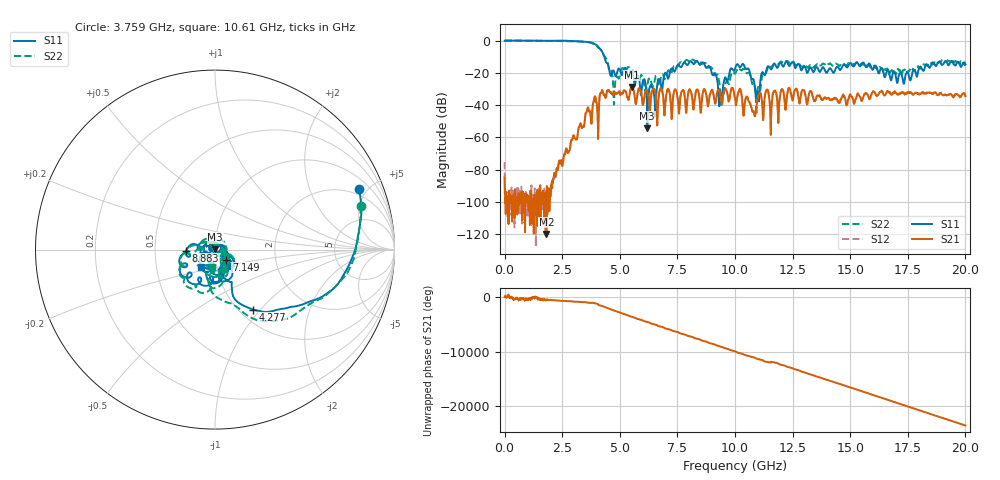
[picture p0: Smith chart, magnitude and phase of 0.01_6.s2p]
#  HZ  S  RI  R  50.00
! Rohde & Schwarz Vector Network Analyzer
! Rohde-Schwarz,ZNB20-2Port,1311601062102128,3.60
! Created: UTC 4/29/2024, 2:51:30 PM
! freq[Hz]  re:S11  im:S11  re:S21  im:S21  re:S12  im:S12  re:S22  im:S22
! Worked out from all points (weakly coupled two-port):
!   2007 points, 100 kHz to 20 GHz, reference 50 ohm
!   highest |S21| = -28.72 dB at 5.514 GHz (marker M1); lowest = -120.0 dB at 1.815 GHz (marker M2)
!   lowest |S11| = -54.4 dB at 6.191 GHz (marker M3), VSWR 1.00, Z = 50.1 + j0.172 ohm
!   |S11| at or under -10 dB: 4.328 GHz to end of sweep
!   |S22| runs from -46.1 to 0.1 dB; largest |S21 - S12| = 0.0022
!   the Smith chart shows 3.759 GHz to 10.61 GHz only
!   S11 on the Smith chart (normalised r, x): 3.759 GHz: 1.55, +4.40; 4.277 GHz: 1.16, -0.92; 7.149 GHz: 1.13, -0.13; 8.883 GHz: 0.72, -0.01; 10.61 GHz: 0.84, -0.17
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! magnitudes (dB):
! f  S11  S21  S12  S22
! 100 kHz  0.0  -84.8  -75.4  0.1
! 1.815 GHz  -0.1  -120.0  -99.9  -0.2
! 2.473 GHz  0.0  -74.7  -75.9  -0.3
! 3.34 GHz  -0.6  -53.7  -53.3  -0.6
! 3.759 GHz  -1.2  -50.8  -50.9  -1.5
! 4.277 GHz  -8.0  -32.4  -32.3  -8.4
! 4.776 GHz  -20.4  -32.7  -32.7  -29.9
! 5.514 GHz  -18.9  -28.7  -28.7  -20.1
! 6.191 GHz  -54.4  -32.0  -32.1  -28.2
! 6.67 GHz  -24.4  -37.4  -37.4  -25.9
! 7.149 GHz  -21.5  -31.7  -31.7  -19.0
! 7.916 GHz  -15.1  -39.2  -39.2  -12.0
! 8.883 GHz  -15.9  -35.5  -35.6  -16.7
! 9.372 GHz  -35.1  -34.2  -34.3  -33.9
! 10 GHz  -17.5  -35.7  -35.6  -20.5
! 10.61 GHz  -18.0  -37.8  -37.8  -20.0
! 10.82 GHz  -24.6  -44.4  -44.4  -26.1
! 10.97 GHz  -31.5  -37.3  -37.3  -31.5
! 11.46 GHz  -15.9  -32.6  -32.7  -16.2
! 13.34 GHz  -18.0  -32.7  -32.6  -15.3
! 16.67 GHz  -19.1  -31.8  -31.9  -20.5
! 20 GHz  -14.7  -34.5  -34.5  -14.3
